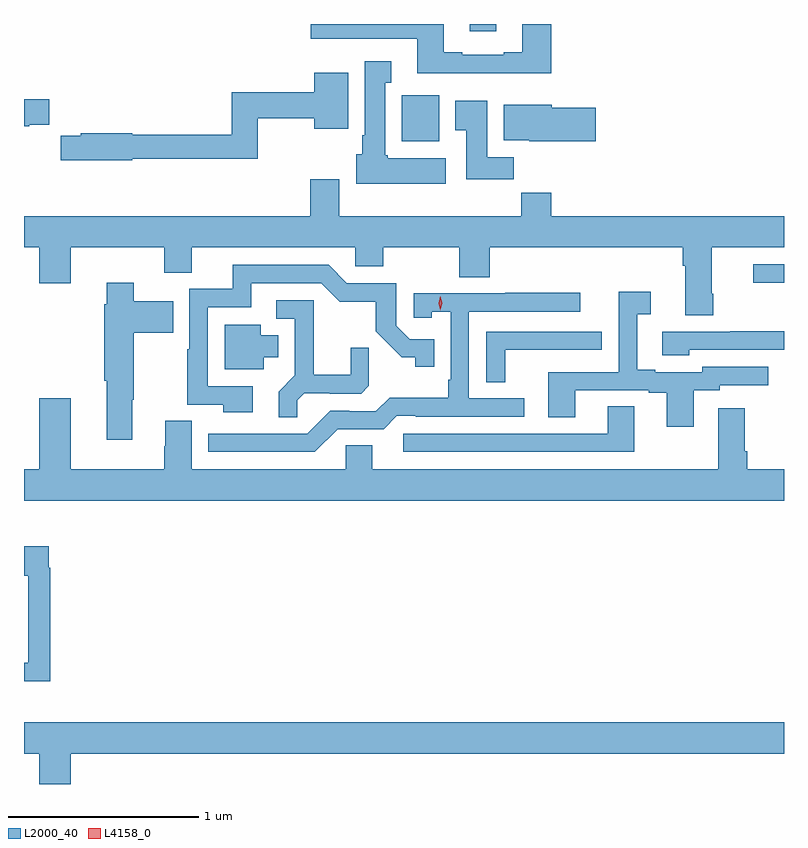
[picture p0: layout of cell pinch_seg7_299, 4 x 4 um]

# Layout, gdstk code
import gdstk
lib = gdstk.Library(unit=1e-6, precision=1e-09)
def R(c, l, rs):  # rectangles x0, y0, x1, y1
    for r in rs: c.add(gdstk.rectangle(r[:2], r[2:], *l))
def P(c, l, *ps):  # polygons
    for p in ps: c.add(gdstk.Polygon(p, *l))
L2000_40 = (2000, 40)
L4158_0 = (4158, 0)

pinch_seg7_299 = lib.new_cell('pinch_seg7_299')
R(pinch_seg7_299, L2000_40, [(552.381,1064.367,552.543,1064.463), (550.532,1065.11,550.729,1065.352), (550.889,1065.69,551.029,1065.728)])
P(pinch_seg7_299, L2000_40, [(551.318,1065.728),(551.165,1065.728),(551.165,1065.58),(551.069,1065.58),(551.069,1065.567),(550.849,1065.567),(550.849,1065.58),(550.753,1065.58),(550.753,1065.728),(550.053,1065.728),(550.053,1065.651),(550.613,1065.651),(550.613,1065.47),(551.318,1065.47)],
  [(550.762,1065.022),(550.458,1065.022),(550.458,1065.036),(550.444,1065.036),(550.444,1065.419),(550.477,1065.419),(550.477,1065.532),(550.337,1065.532),(550.337,1065.142),(550.322,1065.142),(550.322,1065.042),(550.292,1065.042),(550.292,1064.888),(550.762,1064.888)],
  [(549.114,1065.018),(549.773,1065.018),(549.773,1065.232),(550.07,1065.232),(550.07,1065.176),(550.249,1065.176),(550.249,1065.472),(550.07,1065.472),(550.07,1065.368),(549.637,1065.368),(549.637,1065.146),(549.114,1065.146),(549.114,1065.152),(548.842,1065.152),(548.842,1065.14),(548.737,1065.14),(548.737,1065.01),(549.114,1065.01)],
  [(548.57,1065.198),(548.675,1065.198),(548.675,1065.332),(548.543,1065.332),(548.543,1065.19),(548.57,1065.19)],
  [(551.12,1065.028),(550.981,1065.028),(550.981,1065.325),(550.814,1065.325),(550.814,1065.169),(550.871,1065.169),(550.871,1064.91),(551.12,1064.91)],
  [(551.551,1065.287),(551.32,1065.287),(551.32,1065.304),(551.069,1065.304),(551.069,1065.116),(551.202,1065.116),(551.202,1065.11),(551.551,1065.11)],
  [(552.171,1064.308),(552.163,1064.308),(552.163,1064.552),(552.543,1064.552),(552.543,1064.716),(551.318,1064.716),(551.318,1064.84),(551.161,1064.84),(551.161,1064.716),(550.201,1064.716),(550.201,1064.911),(550.049,1064.911),(550.049,1064.716),(548.543,1064.716),(548.543,1064.552),(548.624,1064.552),(548.624,1064.364),(548.788,1064.364),(548.788,1064.552),(549.28,1064.552),(549.28,1064.419),(549.427,1064.419),(549.427,1064.552),(550.287,1064.552),(550.287,1064.454),(550.434,1064.454),(550.434,1064.552),(550.834,1064.552),(550.834,1064.395),(550.994,1064.395),(550.994,1064.552),(552.011,1064.552),(552.011,1064.456),(552.023,1064.456),(552.023,1064.196),(552.171,1064.196)],
  [(549.748,1063.821),(549.51,1063.821),(549.51,1064.238),(549.739,1064.238),(549.739,1064.364),(550.107,1064.364),(550.206,1064.266),(550.395,1064.266),(550.395,1064.11),(550.532,1063.973),(550.602,1063.973),(550.602,1063.923),(550.703,1063.923),(550.703,1064.07),(550.572,1064.07),(550.503,1064.139),(550.503,1064.364),(550.242,1064.364),(550.146,1064.46),(549.641,1064.46),(549.641,1064.334),(549.414,1064.334),(549.414,1064.015),(549.402,1064.015),(549.402,1063.725),(549.592,1063.725),(549.592,1063.685),(549.748,1063.685)],
  [(549.112,1063.751),(549.12,1063.751),(549.12,1064.104),(549.329,1064.104),(549.329,1064.269),(549.12,1064.269),(549.12,1064.365),(548.978,1064.365),(548.978,1064.252),(548.966,1064.252),(548.966,1063.851),(548.978,1063.851),(548.978,1063.539),(549.112,1063.539)],
  [(552.067,1063.8),(552.204,1063.8),(552.204,1063.827),(552.46,1063.827),(552.46,1063.923),(552.114,1063.923),(552.114,1063.896),(551.866,1063.896),(551.866,1063.909),(551.77,1063.909),(551.77,1064.2),(551.842,1064.2),(551.842,1064.32),(551.673,1064.32),(551.673,1063.896),(551.303,1063.896),(551.303,1063.657),(551.443,1063.657),(551.443,1063.8),(551.831,1063.8),(551.831,1063.788),(551.927,1063.788),(551.927,1063.608),(552.067,1063.608)],
  [(550.194,1063.596),(550.437,1063.596),(550.506,1063.665),(550.606,1063.665),(550.606,1063.662),(551.176,1063.662),(551.176,1063.758),(550.884,1063.758),(550.884,1064.214),(551.47,1064.214),(551.47,1064.313),(551.077,1064.313),(551.077,1064.31),(550.593,1064.31),(550.593,1064.181),(550.689,1064.181),(550.689,1064.213),(550.788,1064.213),(550.788,1063.855),(550.776,1063.855),(550.776,1063.762),(550.468,1063.762),(550.395,1063.689),(550.256,1063.689),(550.256,1063.692),(550.155,1063.692),(550.035,1063.572),(549.512,1063.572),(549.512,1063.476),(550.074,1063.476)],
  [(549.981,1063.748),(550.018,1063.785),(550.152,1063.785),(550.152,1063.782),(550.317,1063.782),(550.358,1063.823),(550.358,1064.025),(550.264,1064.025),(550.264,1063.882),(550.067,1063.882),(550.067,1064.274),(549.87,1064.274),(549.87,1064.178),(549.969,1064.178),(549.969,1063.879),(549.883,1063.793),(549.883,1063.657),(549.981,1063.657)],
  [(549.805,1063.973),(549.88,1063.973),(549.88,1064.089),(549.79,1064.089),(549.79,1064.146),(549.599,1064.146),(549.599,1063.91),(549.805,1063.91)],
  [(552.045,1064.013),(552.543,1064.013),(552.543,1064.112),(552.259,1064.112),(552.259,1064.109),(551.901,1064.109),(551.901,1063.985),(552.045,1063.985)],
  [(551.076,1064.013),(551.471,1064.013),(551.471,1064.014),(551.584,1064.014),(551.584,1064.109),(550.977,1064.109),(550.977,1063.843),(551.076,1063.843)],
  [(552.543,1063.384),(552.35,1063.384),(552.35,1063.48),(552.337,1063.48),(552.337,1063.705),(552.197,1063.705),(552.197,1063.384),(550.375,1063.384),(550.375,1063.511),(550.236,1063.511),(550.236,1063.384),(549.427,1063.384),(549.427,1063.64),(549.287,1063.64),(549.287,1063.506),(549.28,1063.506),(549.28,1063.384),(548.788,1063.384),(548.788,1063.759),(548.624,1063.759),(548.624,1063.384),(548.543,1063.384),(548.543,1063.22),(552.543,1063.22)],
  [(551.755,1063.715),(551.615,1063.715),(551.615,1063.572),(550.539,1063.572),(550.539,1063.476),(551.755,1063.476)],
  [(548.681,1062.866),(548.674,1062.866),(548.674,1062.979),(548.543,1062.979),(548.543,1062.823),(548.565,1062.823),(548.565,1062.366),(548.543,1062.366),(548.543,1062.269),(548.681,1062.269)],
  [(548.788,1061.888),(552.543,1061.888),(552.543,1062.052),(548.543,1062.052),(548.543,1061.888),(548.624,1061.888),(548.624,1061.728),(548.788,1061.728)])
P(pinch_seg7_299, L4158_0, [(550.735,1064.222),(550.735,1064.223),(550.725,1064.259),(550.735,1064.295),(550.735,1064.295),(550.735,1064.295),(550.745,1064.259),(550.735,1064.223)])

lib.write_gds('pinch_seg7_299.gds')
